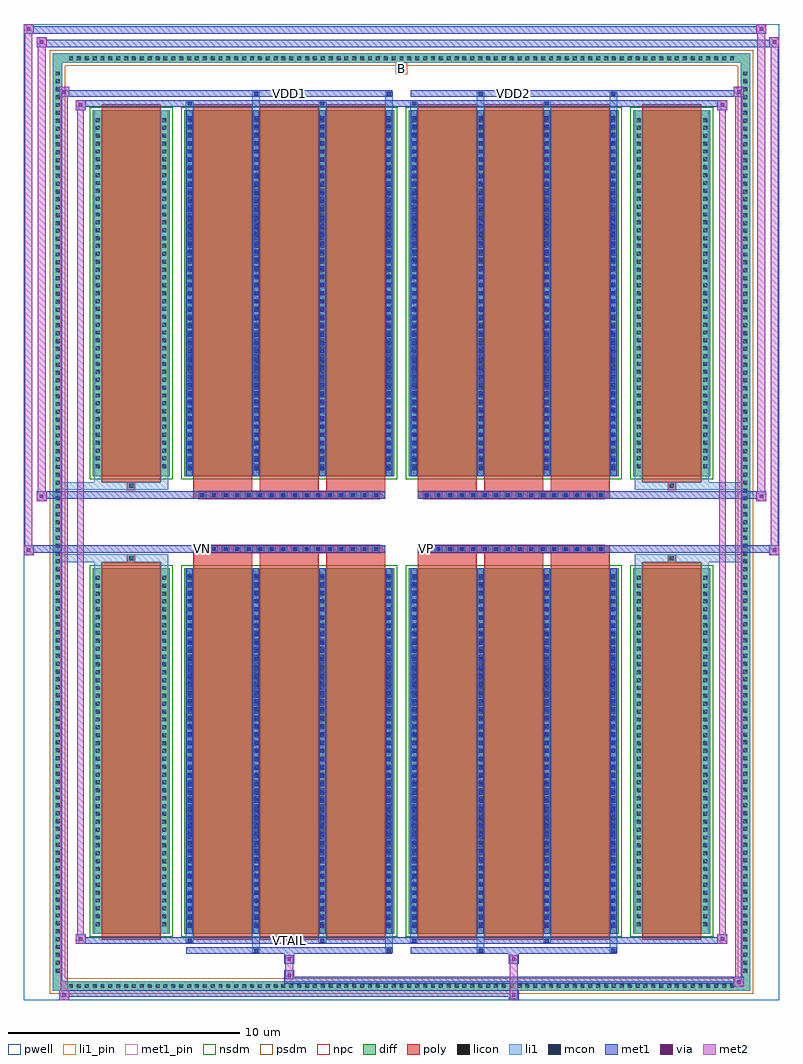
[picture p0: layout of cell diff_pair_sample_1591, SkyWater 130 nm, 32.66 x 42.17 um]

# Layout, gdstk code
import gdstk
lib = gdstk.Library(unit=1e-6, precision=5e-09)
def R(c, l, rs):  # rectangles x0, y0, x1, y1
    for r in rs: c.add(gdstk.rectangle(r[:2], r[2:], *l))
def A(c, l, x, y, w, h, nx, ny, dx, dy):  # array of equal rectangles
    R(c, l, [(x+i*dx, y+j*dy, x+i*dx+w, y+j*dy+h) for i in range(nx) for j in range(ny)])
def P(c, l, *ps):  # polygons
    for p in ps: c.add(gdstk.Polygon(p, *l))
pwell = (64, 44)
diff = (65, 20)
poly = (66, 20)
licon = (66, 44)
li1_pin = (67, 16)
li1 = (67, 20)
mcon = (67, 44)
met1_pin = (68, 16)
met1 = (68, 20)
via = (68, 44)
met2 = (69, 20)
nsdm = (93, 44)
psdm = (94, 20)
npc = (95, 20)

diff_pair_sample_1591 = lib.new_cell('diff_pair_sample_1591')
R(diff_pair_sample_1591, pwell, [(-16.33,-20.65,16.33,21.52), (-13.65,-18.84,-0.01,-0.8), (0.01,-18.84,13.65,-0.8), (-13.65,0.8,-0.01,18.84), (0.01,0.8,13.65,18.84)])
A(diff_pair_sample_1591, diff, -14.485, -20.25, 0.41, 0.41, 85, 2, 0.34, 40.09)
A(diff_pair_sample_1591, diff, -15.06, -19.585, 0.41, 0.41, 1, 115, 0, 0.34)
A(diff_pair_sample_1591, diff, 14.65, -19.585, 0.41, 0.41, 1, 115, 0, 0.34)
R(diff_pair_sample_1591, diff, [(-14.485,-20.25,14.485,-19.84), (-15.06,-19.585,-14.65,19.585), (14.65,-19.585,15.06,19.585), (-13.34,-17.795,-10.02,-1.985), (-9.38,-17.795,-0.32,-1.985), (0.32,-17.795,9.38,-1.985), (10.02,-17.795,13.34,-1.985), (-13.34,1.985,-10.02,17.795), (-9.38,1.985,-0.32,17.795), (0.32,1.985,9.38,17.795), (10.02,1.985,13.34,17.795), (-14.485,19.84,14.485,20.25)])
P(diff_pair_sample_1591, diff, [(15.06,20.25),(-15.06,20.25),(-15.06,-19.84),(-14.65,-19.84),(-14.65,19.84),(14.65,19.84),(14.65,-19.84),(-14.65,-19.84),(-15.06,-19.84),(-15.06,-20.25),(15.06,-20.25)])
A(diff_pair_sample_1591, poly, -8.99, -18.05, 2.54, 16.32, 3, 2, 2.87, 19.78)
A(diff_pair_sample_1591, poly, 0.71, -18.05, 2.54, 16.32, 3, 2, 2.87, 19.78)
A(diff_pair_sample_1591, poly, -8.99, -1.73, 2.54, 0.4, 3, 2, 2.87, 3.06)
A(diff_pair_sample_1591, poly, 0.71, -1.73, 2.54, 0.4, 3, 2, 2.87, 3.06)
A(diff_pair_sample_1591, poly, -8.765, -1.33, 0.33, 0.33, 16, 2, 0.5, 2.33)
A(diff_pair_sample_1591, poly, 0.935, -1.33, 0.33, 0.33, 16, 2, 0.5, 2.33)
R(diff_pair_sample_1591, poly, [(-12.95,-18.05,-10.41,-1.73), (10.41,-18.05,12.95,-1.73), (-11.845,-1.73,-11.515,-1.4), (-11.845,-1.73,-11.515,-1.4), (11.515,-1.73,11.845,-1.4), (11.515,-1.73,11.845,-1.4), (-8.99,-1.33,-0.71,-1), (0.71,-1.33,8.99,-1), (-8.99,1,-0.71,1.33), (0.71,1,8.99,1.33), (-11.845,1.4,-11.515,1.73), (-11.845,1.4,-11.515,1.73), (11.515,1.4,11.845,1.73), (11.515,1.4,11.845,1.73), (-12.95,1.73,-10.41,18.05), (10.41,1.73,12.95,18.05)])
A(diff_pair_sample_1591, licon, -14.365, -20.13, 0.17, 0.17, 85, 2, 0.34, 40.09)
A(diff_pair_sample_1591, licon, -14.94, -19.465, 0.17, 0.17, 1, 115, 0, 0.34)
A(diff_pair_sample_1591, licon, 14.77, -19.465, 0.17, 0.17, 1, 115, 0, 0.34)
A(diff_pair_sample_1591, licon, -13.2, -17.455, 0.17, 0.17, 1, 45, 0, 0.34)
A(diff_pair_sample_1591, licon, -10.33, -17.455, 0.17, 0.17, 1, 45, 0, 0.34)
A(diff_pair_sample_1591, licon, -9.24, -17.455, 0.17, 0.17, 4, 45, 2.87, 0.34)
A(diff_pair_sample_1591, licon, 0.46, -17.455, 0.17, 0.17, 4, 45, 2.87, 0.34)
A(diff_pair_sample_1591, licon, 10.16, -17.455, 0.17, 0.17, 1, 45, 0, 0.34)
A(diff_pair_sample_1591, licon, 13.03, -17.455, 0.17, 0.17, 1, 45, 0, 0.34)
A(diff_pair_sample_1591, licon, -8.685, -1.25, 0.17, 0.17, 16, 2, 0.5, 2.33)
A(diff_pair_sample_1591, licon, 1.015, -1.25, 0.17, 0.17, 16, 2, 0.5, 2.33)
A(diff_pair_sample_1591, licon, -13.2, 2.325, 0.17, 0.17, 1, 45, 0, 0.34)
A(diff_pair_sample_1591, licon, -10.33, 2.325, 0.17, 0.17, 1, 45, 0, 0.34)
A(diff_pair_sample_1591, licon, -9.24, 2.325, 0.17, 0.17, 4, 45, 2.87, 0.34)
A(diff_pair_sample_1591, licon, 0.46, 2.325, 0.17, 0.17, 4, 45, 2.87, 0.34)
A(diff_pair_sample_1591, licon, 10.16, 2.325, 0.17, 0.17, 1, 45, 0, 0.34)
A(diff_pair_sample_1591, licon, 13.03, 2.325, 0.17, 0.17, 1, 45, 0, 0.34)
R(diff_pair_sample_1591, licon, [(-11.765,-1.65,-11.595,-1.48), (11.595,-1.65,11.765,-1.48), (-11.765,1.48,-11.595,1.65), (11.595,1.48,11.765,1.65)])
R(diff_pair_sample_1591, li1_pin, [(-0.25,19.34,0.25,19.84)])
A(diff_pair_sample_1591, li1, -14.445, -20.21, 0.33, 0.33, 85, 2, 0.34, 40.09)
A(diff_pair_sample_1591, li1, -15.02, -19.545, 0.33, 0.33, 1, 115, 0, 0.34)
A(diff_pair_sample_1591, li1, 14.69, -19.545, 0.33, 0.33, 1, 115, 0, 0.34)
A(diff_pair_sample_1591, li1, -9.32, -17.795, 0.33, 15.81, 4, 2, 2.87, 19.78)
A(diff_pair_sample_1591, li1, 0.38, -17.795, 0.33, 15.81, 4, 2, 2.87, 19.78)
A(diff_pair_sample_1591, li1, -13.28, -17.535, 0.33, 0.33, 1, 45, 0, 0.34)
A(diff_pair_sample_1591, li1, -10.41, -17.535, 0.33, 0.33, 1, 45, 0, 0.34)
A(diff_pair_sample_1591, li1, -9.32, -17.535, 0.33, 0.33, 4, 45, 2.87, 0.34)
A(diff_pair_sample_1591, li1, -9.24, -17.535, 0.17, 0.17, 4, 43, 2.87, 0.36)
A(diff_pair_sample_1591, li1, -9.24, -17.535, 0.17, 15.29, 4, 2, 2.87, 19.78)
A(diff_pair_sample_1591, li1, 0.38, -17.535, 0.33, 0.33, 4, 45, 2.87, 0.34)
A(diff_pair_sample_1591, li1, 0.46, -17.535, 0.17, 0.17, 4, 43, 2.87, 0.36)
A(diff_pair_sample_1591, li1, 0.46, -17.535, 0.17, 15.29, 4, 2, 2.87, 19.78)
A(diff_pair_sample_1591, li1, 10.08, -17.535, 0.33, 0.33, 1, 45, 0, 0.34)
A(diff_pair_sample_1591, li1, 12.95, -17.535, 0.33, 0.33, 1, 45, 0, 0.34)
A(diff_pair_sample_1591, li1, -8.765, -1.33, 0.33, 0.33, 16, 2, 0.5, 2.33)
A(diff_pair_sample_1591, li1, 0.935, -1.33, 0.33, 0.33, 16, 2, 0.5, 2.33)
A(diff_pair_sample_1591, li1, -13.28, 2.245, 0.33, 0.33, 1, 45, 0, 0.34)
A(diff_pair_sample_1591, li1, -10.41, 2.245, 0.33, 0.33, 1, 45, 0, 0.34)
A(diff_pair_sample_1591, li1, -9.32, 2.245, 0.33, 0.33, 4, 45, 2.87, 0.34)
A(diff_pair_sample_1591, li1, -9.24, 2.245, 0.17, 0.17, 4, 43, 2.87, 0.36)
A(diff_pair_sample_1591, li1, 0.38, 2.245, 0.33, 0.33, 4, 45, 2.87, 0.34)
A(diff_pair_sample_1591, li1, 0.46, 2.245, 0.17, 0.17, 4, 43, 2.87, 0.36)
A(diff_pair_sample_1591, li1, 10.08, 2.245, 0.33, 0.33, 1, 45, 0, 0.34)
A(diff_pair_sample_1591, li1, 12.95, 2.245, 0.33, 0.33, 1, 45, 0, 0.34)
R(diff_pair_sample_1591, li1, [(-15.06,-20.25,-14.65,-19.84), (-15.06,-20.25,-14.65,-19.84), (-14.65,-20.25,14.65,-19.84), (14.65,-20.25,15.06,-19.84), (14.65,-20.25,15.06,-19.84), (-15.06,-19.84,-14.65,19.84), (14.65,-19.84,15.06,19.84), (-6.45,-18.6,-6.12,-17.795), (-6.37,-18.6,-6.2,-18.43), (-0.71,-18.6,-0.38,-17.795), (-0.63,-18.6,-0.46,-18.43), (3.25,-18.6,3.58,-17.795), (3.33,-18.6,3.5,-18.43), (8.99,-18.6,9.32,-17.795), (9.07,-18.6,9.24,-18.43), (-9.32,-18.17,-8.99,-17.795), (-9.24,-18.17,-9.07,-18), (-3.58,-18.17,-3.25,-17.795), (-3.5,-18.17,-3.33,-18), (0.38,-18.17,0.71,-17.795), (0.46,-18.17,0.63,-18), (6.12,-18.17,6.45,-17.795), (6.2,-18.17,6.37,-18), (-13.28,-17.795,-12.95,-1.985), (-10.41,-17.795,-10.08,-1.985), (10.08,-17.795,10.41,-1.985), (12.95,-17.795,13.28,-1.985), (-13.28,-1.985,-12.95,-1.4), (-10.41,-1.985,-10.08,-1.4), (10.08,-1.985,10.41,-1.4), (12.95,-1.985,13.28,-1.4), (-15.06,-1.73,-11.845,-1.4), (-13.28,-1.73,-11.845,-1.4), (-11.845,-1.73,-11.515,-1.4), (-11.515,-1.73,-10.08,-1.4), (10.08,-1.73,11.515,-1.4), (11.515,-1.73,11.845,-1.4), (11.515,-1.73,15.06,-1.4), (11.845,-1.73,13.28,-1.4), (-15.06,1.4,-11.845,1.73), (-13.28,1.4,-11.845,1.73), (-13.28,1.4,-12.95,1.985), (-11.845,1.4,-11.515,1.73), (-11.515,1.4,-10.08,1.73), (-10.41,1.4,-10.08,1.985), (10.08,1.4,11.515,1.73), (10.08,1.4,10.41,1.985), (11.515,1.4,11.845,1.73), (11.515,1.4,15.06,1.73), (11.845,1.4,13.28,1.73), (12.95,1.4,13.28,1.985), (-13.28,1.985,-12.95,17.795), (-10.41,1.985,-10.08,17.795), (10.08,1.985,10.41,17.795), (12.95,1.985,13.28,17.795), (-9.32,17.795,-8.99,18.17), (-6.45,17.795,-6.12,18.6), (-3.58,17.795,-3.25,18.17), (-0.71,17.795,-0.38,18.6), (0.38,17.795,0.71,18.17), (3.25,17.795,3.58,18.6), (6.12,17.795,6.45,18.17), (8.99,17.795,9.32,18.6), (-9.24,18,-9.07,18.17), (-3.5,18,-3.33,18.17), (0.46,18,0.63,18.17), (6.2,18,6.37,18.17), (-6.37,18.43,-6.2,18.6), (-0.63,18.43,-0.46,18.6), (3.33,18.43,3.5,18.6), (9.07,18.43,9.24,18.6), (-15.06,19.84,-14.65,20.25), (-15.06,19.84,-14.65,20.25), (-14.65,19.84,14.65,20.25), (14.65,19.84,15.06,20.25), (14.65,19.84,15.06,20.25)])
A(diff_pair_sample_1591, mcon, -9.24, -17.535, 0.17, 0.17, 4, 43, 2.87, 0.36)
A(diff_pair_sample_1591, mcon, 0.46, -17.535, 0.17, 0.17, 4, 43, 2.87, 0.36)
A(diff_pair_sample_1591, mcon, -8.685, -1.25, 0.17, 0.17, 16, 2, 0.5, 2.33)
A(diff_pair_sample_1591, mcon, 1.015, -1.25, 0.17, 0.17, 16, 2, 0.5, 2.33)
A(diff_pair_sample_1591, mcon, -9.24, 2.245, 0.17, 0.17, 4, 43, 2.87, 0.36)
A(diff_pair_sample_1591, mcon, 0.46, 2.245, 0.17, 0.17, 4, 43, 2.87, 0.36)
R(diff_pair_sample_1591, mcon, [(-6.37,-18.6,-6.2,-18.43), (-0.63,-18.6,-0.46,-18.43), (3.33,-18.6,3.5,-18.43), (9.07,-18.6,9.24,-18.43), (-9.24,-18.17,-9.07,-18), (-3.5,-18.17,-3.33,-18), (0.46,-18.17,0.63,-18), (6.2,-18.17,6.37,-18), (-9.24,18,-9.07,18.17), (-3.5,18,-3.33,18.17), (0.46,18,0.63,18.17), (6.2,18,6.37,18.17), (-6.37,18.43,-6.2,18.6), (-0.63,18.43,-0.46,18.6), (3.33,18.43,3.5,18.6), (9.07,18.43,9.24,18.6)])
R(diff_pair_sample_1591, met1_pin, [(-4.985,-18.21,-4.715,-17.94), (-8.735,-1.29,-8.465,-1.02), (0.965,-1.29,1.235,-1.02), (-4.985,18.39,-4.715,18.66), (4.715,18.39,4.985,18.66)])
A(diff_pair_sample_1591, met1, -9.3, -17.795, 0.29, 15.81, 4, 2, 2.87, 19.78)
A(diff_pair_sample_1591, met1, 0.4, -17.795, 0.29, 15.81, 4, 2, 2.87, 19.78)
A(diff_pair_sample_1591, met1, -9.3, -17.595, 0.29, 0.29, 4, 43, 2.87, 0.36)
A(diff_pair_sample_1591, met1, 0.4, -17.595, 0.29, 0.29, 4, 43, 2.87, 0.36)
A(diff_pair_sample_1591, met1, -8.745, -1.31, 0.29, 0.29, 16, 2, 0.5, 2.33)
A(diff_pair_sample_1591, met1, 0.955, -1.31, 0.29, 0.29, 16, 2, 0.5, 2.33)
A(diff_pair_sample_1591, met1, -9.3, 2.185, 0.29, 0.29, 4, 43, 2.87, 0.36)
A(diff_pair_sample_1591, met1, 0.4, 2.185, 0.29, 0.29, 4, 43, 2.87, 0.36)
R(diff_pair_sample_1591, met1, [(-14.79,-20.65,-14.36,-20.22), (4.635,-20.65,5.065,-20.22), (-14.79,-20.51,5.065,-20.22), (14.36,-20.08,14.79,-19.65), (-5.065,-19.94,14.79,-19.65), (-5.065,-19.8,-4.635,-19.37), (-5.065,-19.09,-4.635,-18.66), (4.635,-19.09,5.065,-18.66), (-9.3,-18.66,-0.4,-18.37), (-6.43,-18.66,-6.14,-18.37), (-0.69,-18.66,-0.4,-18.37), (0.4,-18.66,9.3,-18.37), (3.27,-18.66,3.56,-18.37), (9.01,-18.66,9.3,-18.37), (-14.08,-18.23,-13.65,-17.8), (-14.08,-18.23,-9.3,-17.94), (-9.3,-18.23,-9.01,-17.94), (-9.3,-18.23,-0.4,-17.94), (-3.56,-18.23,-3.27,-17.94), (-0.4,-18.23,0.4,-17.94), (0.4,-18.23,0.69,-17.94), (0.4,-18.23,9.3,-17.94), (6.14,-18.23,6.43,-17.94), (9.3,-18.23,14.08,-17.94), (13.65,-18.23,14.08,-17.8), (-16.33,-1.43,-15.9,-1), (15.9,-1.43,16.33,-1), (-16.33,-1.33,-0.71,-1), (-8.99,-1.33,-0.71,-1), (0.71,-1.33,8.99,-1), (0.71,-1.33,16.33,-1), (-15.76,0.9,-15.33,1.33), (15.33,0.9,15.76,1.33), (-15.76,1,-8.99,1.33), (-8.99,1,-0.71,1.33), (0.71,1,8.99,1.33), (8.99,1,15.76,1.33), (-14.08,17.8,-13.65,18.23), (13.65,17.8,14.08,18.23), (-14.08,17.94,-9.3,18.23), (-9.3,17.94,-9.01,18.23), (-9.3,17.94,-0.4,18.23), (-3.56,17.94,-3.27,18.23), (-0.4,17.94,0.4,18.23), (0.4,17.94,0.69,18.23), (0.4,17.94,9.3,18.23), (6.14,17.94,6.43,18.23), (9.3,17.94,14.08,18.23), (-14.79,18.37,-14.36,18.8), (-14.79,18.37,-9.3,18.66), (-9.3,18.37,-0.4,18.66), (-6.43,18.37,-6.14,18.66), (-0.69,18.37,-0.4,18.66), (0.4,18.37,9.3,18.66), (3.27,18.37,3.56,18.66), (9.01,18.37,9.3,18.66), (9.3,18.37,14.79,18.66), (14.36,18.37,14.79,18.8), (-15.76,20.52,-15.33,20.95), (-15.76,20.52,-13.65,20.85), (-13.65,20.52,13.65,20.85), (13.65,20.52,16.33,20.85), (15.9,20.52,16.33,20.95), (-16.33,21.09,-15.9,21.52), (-16.33,21.09,-13.65,21.42), (-13.65,21.09,13.65,21.42), (13.65,21.09,15.76,21.42), (15.33,21.09,15.76,21.52)])
R(diff_pair_sample_1591, via, [(-14.65,-20.51,-14.5,-20.36), (4.775,-20.51,4.925,-20.36), (14.5,-19.94,14.65,-19.79), (-4.925,-19.66,-4.775,-19.51), (-4.925,-18.95,-4.775,-18.8), (4.775,-18.95,4.925,-18.8), (-13.94,-18.09,-13.79,-17.94), (13.79,-18.09,13.94,-17.94), (-16.19,-1.29,-16.04,-1.14), (16.04,-1.29,16.19,-1.14), (-15.62,1.04,-15.47,1.19), (15.47,1.04,15.62,1.19), (-13.94,17.94,-13.79,18.09), (13.79,17.94,13.94,18.09), (-14.65,18.51,-14.5,18.66), (14.5,18.51,14.65,18.66), (-15.62,20.66,-15.47,20.81), (16.04,20.66,16.19,20.81), (-16.19,21.23,-16.04,21.38), (15.47,21.23,15.62,21.38)])
R(diff_pair_sample_1591, met2, [(-14.79,-20.65,-14.36,-20.22), (-14.72,-20.65,-14.43,18.8), (-14.43,-20.65,-14.36,-20.22), (-14.74,-20.6,-14.41,-20.27), (4.685,-20.6,5.015,-20.27), (4.685,-20.27,5.015,-19.04), (14.36,-20.08,14.79,-19.65), (14.43,-20.08,14.72,18.8), (14.72,-20.08,14.79,-19.65), (14.41,-20.03,14.74,-19.7), (-5.015,-19.75,-4.685,-19.42), (-5.015,-19.42,-4.685,-19.04), (-5.015,-19.04,-4.685,-18.71), (4.685,-19.04,5.015,-18.71), (-14.08,-18.23,-13.65,-17.8), (-14.01,-18.23,-13.72,18.23), (-13.72,-18.23,-13.65,-17.8), (13.65,-18.23,14.08,-17.8), (13.72,-18.23,14.01,18.23), (14.01,-18.23,14.08,-17.8), (-14.03,-18.18,-13.7,-17.85), (13.7,-18.18,14.03,-17.85), (-16.33,-1.43,-15.9,-1), (-16.28,-1.43,-15.95,21.52), (-15.95,-1.43,-15.9,-1), (15.9,-1.43,16.33,-1), (15.95,-1.43,16.28,20.95), (16.28,-1.43,16.33,-1), (-16.28,-1.38,-15.95,-1.05), (15.95,-1.38,16.28,-1.05), (-15.76,0.9,-15.33,1.33), (-15.71,0.9,-15.38,20.95), (-15.38,0.9,-15.33,1.33), (15.33,0.9,15.76,1.33), (15.38,0.9,15.71,21.52), (15.71,0.9,15.76,1.33), (-15.71,0.95,-15.38,1.28), (15.38,0.95,15.71,1.28), (-14.08,17.8,-13.65,18.23), (-13.72,17.8,-13.65,18.23), (13.65,17.8,14.08,18.23), (14.01,17.8,14.08,18.23), (-14.03,17.85,-13.7,18.18), (13.7,17.85,14.03,18.18), (-14.79,18.37,-14.36,18.8), (-14.43,18.37,-14.36,18.8), (14.36,18.37,14.79,18.8), (14.72,18.37,14.79,18.8), (-14.74,18.42,-14.41,18.75), (14.41,18.42,14.74,18.75), (-15.76,20.52,-15.33,20.95), (-15.38,20.52,-15.33,20.95), (15.9,20.52,16.33,20.95), (16.28,20.52,16.33,20.95), (-15.71,20.57,-15.38,20.9), (15.95,20.57,16.28,20.9), (-16.33,21.09,-15.9,21.52), (-15.95,21.09,-15.9,21.52), (15.33,21.09,15.76,21.52), (15.71,21.09,15.76,21.52), (-16.28,21.14,-15.95,21.47), (15.38,21.14,15.71,21.47)])
R(diff_pair_sample_1591, nsdm, [(-13.47,-17.925,-9.89,-1.855), (-9.51,-17.925,-0.19,-1.855), (0.19,-17.925,9.51,-1.855), (9.89,-17.925,13.47,-1.855), (-13.47,1.855,-9.89,17.925), (-9.51,1.855,-0.19,17.925), (0.19,1.855,9.51,17.925), (9.89,1.855,13.47,17.925)])
P(diff_pair_sample_1591, psdm, [(15.19,20.38),(-15.19,20.38),(-15.19,-19.71),(-14.52,-19.71),(-14.52,19.71),(14.52,19.71),(14.52,-19.71),(-14.52,-19.71),(-15.19,-19.71),(-15.19,-20.38),(15.19,-20.38)])
A(diff_pair_sample_1591, npc, -8.785, -1.35, 0.37, 0.37, 16, 2, 0.5, 2.33)
A(diff_pair_sample_1591, npc, 0.915, -1.35, 0.37, 0.37, 16, 2, 0.5, 2.33)
R(diff_pair_sample_1591, npc, [(-11.865,-1.75,-11.495,-1.38), (11.495,-1.75,11.865,-1.38), (-8.785,-1.35,-7.915,-0.98), (-8.785,-1.35,-7.915,-0.98), (-8.285,-1.35,-7.415,-0.98), (-8.285,-1.35,-7.415,-0.98), (-7.785,-1.35,-6.915,-0.98), (-7.785,-1.35,-6.915,-0.98), (-7.285,-1.35,-6.415,-0.98), (-7.285,-1.35,-6.415,-0.98), (-6.785,-1.35,-5.915,-0.98), (-6.785,-1.35,-5.915,-0.98), (-6.285,-1.35,-5.415,-0.98), (-6.285,-1.35,-5.415,-0.98), (-5.785,-1.35,-4.915,-0.98), (-5.785,-1.35,-4.915,-0.98), (-5.285,-1.35,-4.415,-0.98), (-5.285,-1.35,-4.415,-0.98), (-4.785,-1.35,-3.915,-0.98), (-4.785,-1.35,-3.915,-0.98), (-4.285,-1.35,-3.415,-0.98), (-4.285,-1.35,-3.415,-0.98), (-3.785,-1.35,-2.915,-0.98), (-3.785,-1.35,-2.915,-0.98), (-3.285,-1.35,-2.415,-0.98), (-3.285,-1.35,-2.415,-0.98), (-2.785,-1.35,-1.915,-0.98), (-2.785,-1.35,-1.915,-0.98), (-2.285,-1.35,-1.415,-0.98), (-2.285,-1.35,-1.415,-0.98), (-1.785,-1.35,-0.915,-0.98), (-1.785,-1.35,-0.915,-0.98), (0.915,-1.35,1.785,-0.98), (0.915,-1.35,1.785,-0.98), (1.415,-1.35,2.285,-0.98), (1.415,-1.35,2.285,-0.98), (1.915,-1.35,2.785,-0.98), (1.915,-1.35,2.785,-0.98), (2.415,-1.35,3.285,-0.98), (2.415,-1.35,3.285,-0.98), (2.915,-1.35,3.785,-0.98), (2.915,-1.35,3.785,-0.98), (3.415,-1.35,4.285,-0.98), (3.415,-1.35,4.285,-0.98), (3.915,-1.35,4.785,-0.98), (3.915,-1.35,4.785,-0.98), (4.415,-1.35,5.285,-0.98), (4.415,-1.35,5.285,-0.98), (4.915,-1.35,5.785,-0.98), (4.915,-1.35,5.785,-0.98), (5.415,-1.35,6.285,-0.98), (5.415,-1.35,6.285,-0.98), (5.915,-1.35,6.785,-0.98), (5.915,-1.35,6.785,-0.98), (6.415,-1.35,7.285,-0.98), (6.415,-1.35,7.285,-0.98), (6.915,-1.35,7.785,-0.98), (6.915,-1.35,7.785,-0.98), (7.415,-1.35,8.285,-0.98), (7.415,-1.35,8.285,-0.98), (7.915,-1.35,8.785,-0.98), (7.915,-1.35,8.785,-0.98), (-8.785,0.98,-7.915,1.35), (-8.785,0.98,-7.915,1.35), (-8.285,0.98,-7.415,1.35), (-8.285,0.98,-7.415,1.35), (-7.785,0.98,-6.915,1.35), (-7.785,0.98,-6.915,1.35), (-7.285,0.98,-6.415,1.35), (-7.285,0.98,-6.415,1.35), (-6.785,0.98,-5.915,1.35), (-6.785,0.98,-5.915,1.35), (-6.285,0.98,-5.415,1.35), (-6.285,0.98,-5.415,1.35), (-5.785,0.98,-4.915,1.35), (-5.785,0.98,-4.915,1.35), (-5.285,0.98,-4.415,1.35), (-5.285,0.98,-4.415,1.35), (-4.785,0.98,-3.915,1.35), (-4.785,0.98,-3.915,1.35), (-4.285,0.98,-3.415,1.35), (-4.285,0.98,-3.415,1.35), (-3.785,0.98,-2.915,1.35), (-3.785,0.98,-2.915,1.35), (-3.285,0.98,-2.415,1.35), (-3.285,0.98,-2.415,1.35), (-2.785,0.98,-1.915,1.35), (-2.785,0.98,-1.915,1.35), (-2.285,0.98,-1.415,1.35), (-2.285,0.98,-1.415,1.35), (-1.785,0.98,-0.915,1.35), (-1.785,0.98,-0.915,1.35), (0.915,0.98,1.785,1.35), (0.915,0.98,1.785,1.35), (1.415,0.98,2.285,1.35), (1.415,0.98,2.285,1.35), (1.915,0.98,2.785,1.35), (1.915,0.98,2.785,1.35), (2.415,0.98,3.285,1.35), (2.415,0.98,3.285,1.35), (2.915,0.98,3.785,1.35), (2.915,0.98,3.785,1.35), (3.415,0.98,4.285,1.35), (3.415,0.98,4.285,1.35), (3.915,0.98,4.785,1.35), (3.915,0.98,4.785,1.35), (4.415,0.98,5.285,1.35), (4.415,0.98,5.285,1.35), (4.915,0.98,5.785,1.35), (4.915,0.98,5.785,1.35), (5.415,0.98,6.285,1.35), (5.415,0.98,6.285,1.35), (5.915,0.98,6.785,1.35), (5.915,0.98,6.785,1.35), (6.415,0.98,7.285,1.35), (6.415,0.98,7.285,1.35), (6.915,0.98,7.785,1.35), (6.915,0.98,7.785,1.35), (7.415,0.98,8.285,1.35), (7.415,0.98,8.285,1.35), (7.915,0.98,8.785,1.35), (7.915,0.98,8.785,1.35), (-11.865,1.38,-11.495,1.75), (11.495,1.38,11.865,1.75)])
diff_pair_sample_1591.add(gdstk.Label('VTAIL', (-4.85,-18.075), layer=68, texttype=5))
diff_pair_sample_1591.add(gdstk.Label('VN', (-8.6,-1.155), layer=68, texttype=5))
diff_pair_sample_1591.add(gdstk.Label('VP', (1.1,-1.155), layer=68, texttype=5))
diff_pair_sample_1591.add(gdstk.Label('B', (0,19.59), layer=67, texttype=5))
diff_pair_sample_1591.add(gdstk.Label('VDD2', (4.85,18.525), layer=68, texttype=5))
diff_pair_sample_1591.add(gdstk.Label('VDD1', (-4.85,18.525), layer=68, texttype=5))

lib.write_gds('diff_pair_sample_1591.gds')
